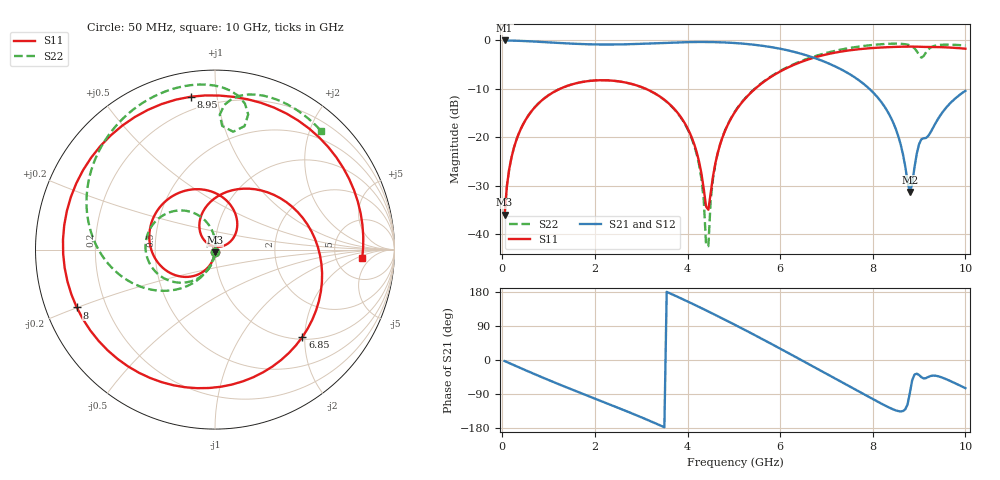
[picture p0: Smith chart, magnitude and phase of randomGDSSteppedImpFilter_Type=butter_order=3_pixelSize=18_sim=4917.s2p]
! freq	dB(S11)	phase(S11)	dB(S12)	phase(S12)
!  dB(S21)	phase(S21)	dB(S22)	phase(S22)
!S-par simulation data
#  GHz  S  DB  R 50
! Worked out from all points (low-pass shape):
!   200 points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, 50 MHz to 10 GHz, reference 50 ohm
!   highest |S21| = -0.01 dB at 50 MHz (marker M1); lowest = -31.3 dB at 8.8 GHz (marker M2)
!   |S21| within 3 dB of the highest: start of sweep to 6.543 GHz
!   lowest |S11| = -36.0 dB at 50 MHz (marker M3), VSWR 1.03, Z = 49.9 - j1.57 ohm
!   |S11| at or under -10 dB: start of sweep to 1.246 GHz; 3.099 GHz to 5.458 GHz (2.359 GHz wide, 55.1 % of centre)
!   |S22| runs from -42.5 to -0.7 dB; largest |S21 - S12| = 0
!   S11 on the Smith chart (normalised r, x): 50 MHz: 1.00, -0.03; 6.85 GHz: 1.05, -1.94; 8 GHz: 0.09, -0.20; 8.95 GHz: 0.13, +0.85; 10 GHz: 9.34, -2.85
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0.05  -36.03 -92.9  -0.01 -2.8  -0.01 -2.8  -36.03 -92.3
0.2  -24.11 -102.3  -0.03 -10.9  -0.03 -10.9  -24.10 -99.9
0.5  -16.47 -120.4  -0.14 -26.9  -0.14 -26.9  -16.46 -114.4
1.75  -8.55 168.3  -0.76 -89.9  -0.76 -89.9  -8.54 -169.1
3.4  -11.57 71.1  -0.54 -172.0  -0.54 -172.0  -11.59 125.4
4.15  -21.59 25.5  -0.33 145.8  -0.33 145.8  -21.90 94.6
4.3  -27.51 25.8  -0.32 137.0  -0.32 137.0  -28.58 87.4
4.45  -34.99 98.7  -0.33 128.0  -0.33 128.0  -42.52 -79.3
4.5  -31.51 126.9  -0.33 125.0  -0.33 125.0  -33.01 -94.8
4.6  -25.43 140.1  -0.35 119.0  -0.35 119.0  -25.56 -100.9
5.05  -14.41 115.6  -0.55 91.2  -0.55 91.2  -14.33 -119.5
5.9  -6.96 42.6  -1.54 36.6  -1.54 36.6  -6.85 -152.4
6.7  -3.65 -31.0  -3.49 -16.3  -3.49 -16.3  -3.41 175.8
6.85  -3.24 -45.0  -4.00 -26.3  -4.00 -26.3  -2.97 169.7
7.45  -2.11 -102.1  -6.68 -66.2  -6.68 -66.2  -1.65 145.3
8  -1.57 -157.3  -10.68 -103.0  -10.68 -103.0  -0.93 122.5
8.35  -1.38 165.4  -15.20 -125.3  -15.20 -125.3  -0.69 107.3
8.8  -1.27 115.7  -31.33 -87.6  -31.33 -87.6  -1.01 84.5
8.95  -1.29 99.1  -23.42 -36.1  -23.42 -36.1  -2.21 76.2
9.15  -1.34 77.8  -20.15 -47.7  -20.15 -47.7  -2.47 88.0
9.5  -1.40 42.2  -14.92 -46.4  -14.92 -46.4  -0.89 70.1
10  -1.71 -3.5  -10.44 -74.4  -10.44 -74.4  -1.04 48.3
